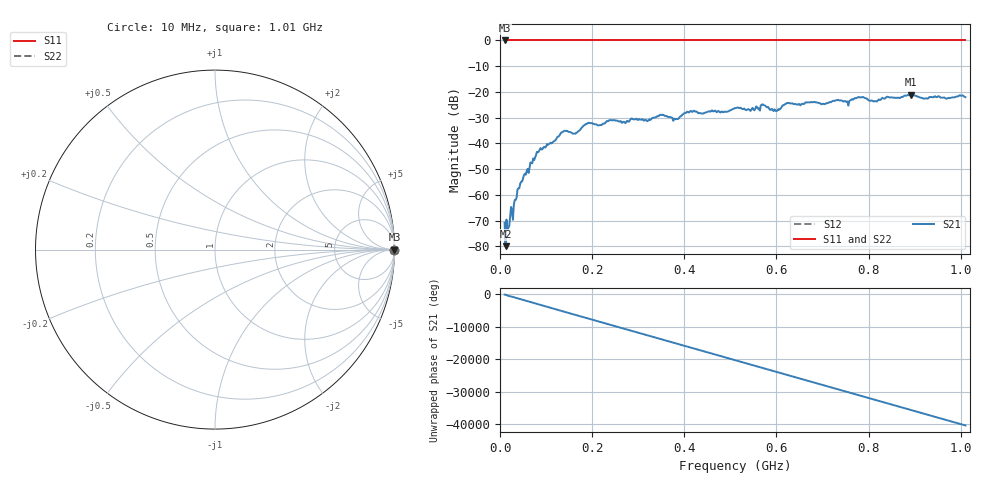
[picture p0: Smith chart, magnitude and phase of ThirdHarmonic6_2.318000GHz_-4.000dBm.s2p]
! 8/17/2025 3:15:56 AM
! C:\ANRITSUVNA\TEMP\TEMP.S2P
! CHANNEL.1
! TR.MEASUREMENT
! RAW.DATA
! RF.CORRECTION.OFF
! AVERAGING.OFF
! IF.BANDWIDTH: 5KHZ
! SWEEPTYPE:  FREQ.SWEEP(Linear)
! Reference Plane Port Info
! PORT:  PORT1  PORT2
! DISTANCE:  0  m  0  m
! TIME:  0  s  0  s
! PHASE.OFFSET:  0  deg.  0  deg.
! LOSS:  0  dB  0  dB
! REF.LOSS:  0  dB  0  dB
! REF.FREQ:  0  Hz  0  Hz
! Power Info
! POWER:  -20  dBm  -20  dBm
! EFF.POWER:  -20  dBm  -20  dBm
! SOURCE.ATTEN:  0  dB  0  dB
! TEST.ATTEN:  0  dB  0  dB
# GHZ S RI R 50.0
! FREQ.GHZ  S11RE  S11IM  S21RE  S21IM  S12RE  S12IM  S22RE  S22IM
!; PortSelection: Port_12
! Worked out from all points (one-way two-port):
!   501 points, 10 MHz to 1.01 GHz, reference 50 ohm
!   highest |S21| = -21.09 dB at 892 MHz (marker M1); lowest = -79.9 dB at 12 MHz (marker M2)
!   lowest |S11| = 0.0 dB at 10 MHz (marker M3)
!   |S11| at or under -10 dB: nowhere
!   |S22| runs from 0.0 to 0.0 dB; largest |S21 - S12| = 1.1
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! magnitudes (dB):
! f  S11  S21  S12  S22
! 10 MHz  0.0  -70.8  0.0  0.0
! 12 MHz  0.0  -79.9  0.0  0.0
! 16 MHz  0.0  -73.7  0.0  0.0
! 42 MHz  0.0  -57.4  0.0  0.0
! 84 MHz  0.0  -43.2  0.0  0.0
! 136 MHz  0.0  -35.6  0.0  0.0
! 162 MHz  0.0  -36.2  0.0  0.0
! 178 MHz  0.0  -33.8  0.0  0.0
! 194 MHz  0.0  -32.0  0.0  0.0
! 322 MHz  0.0  -31.0  0.0  0.0
! 344 MHz  0.0  -29.4  0.0  0.0
! 380 MHz  0.0  -30.6  0.0  0.0
! 410 MHz  0.0  -28.0  0.0  0.0
! 510 MHz  0.0  -26.3  0.0  0.0
! 548 MHz  0.0  -26.2  0.0  0.0
! 570 MHz  0.0  -24.8  0.0  0.0
! 598 MHz  0.0  -27.3  0.0  0.0
! 624 MHz  0.0  -24.3  0.0  0.0
! 678 MHz  0.0  -24.0  0.0  0.0
! 844 MHz  0.0  -22.0  0.0  0.0
! 892 MHz  0.0  -21.1  0.0  0.0
! 1.01 GHz  0.0  -22.0  0.0  0.0
